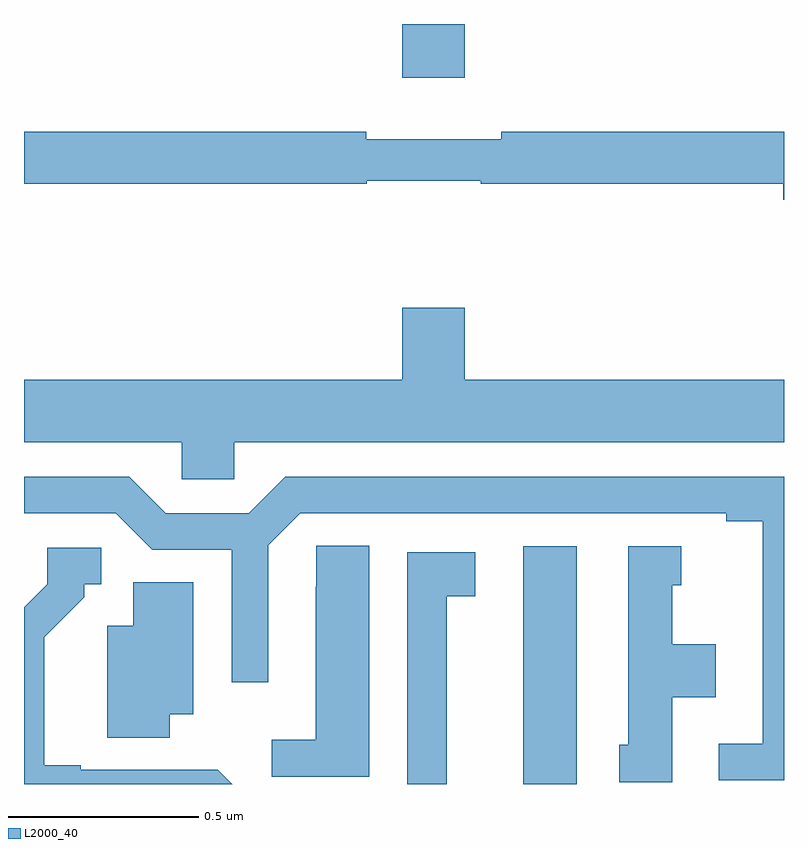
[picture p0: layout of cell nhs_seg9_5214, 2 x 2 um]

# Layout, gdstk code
import gdstk
lib = gdstk.Library(unit=1e-6, precision=1e-09)
def R(c, l, rs):  # rectangles x0, y0, x1, y1
    for r in rs: c.add(gdstk.rectangle(r[:2], r[2:], *l))
def P(c, l, *ps):  # polygons
    for p in ps: c.add(gdstk.Polygon(p, *l))
L2000_40 = (2000, 40)

nhs_seg9_5214 = lib.new_cell('nhs_seg9_5214')
R(nhs_seg9_5214, L2000_40, [(177.314,1215.5,177.454,1216.126), (176.996,1217.358,177.16,1217.5)])
P(nhs_seg9_5214, L2000_40, [(178,1217.216),(177.256,1217.216),(177.256,1217.197),(176.9,1217.197),(176.9,1217.216),(176,1217.216),(176,1217.08),(176.902,1217.08),(176.902,1217.088),(177.202,1217.088),(177.202,1217.08),(177.998,1217.08),(177.998,1217.038),(178,1217.038)],
  [(176.553,1216.4),(178,1216.4),(178,1216.564),(177.16,1216.564),(177.16,1216.753),(176.996,1216.753),(176.996,1216.564),(176,1216.564),(176,1216.4),(176.415,1216.4),(176.415,1216.302),(176.553,1216.302)],
  [(178,1216.308),(176.687,1216.308),(176.591,1216.212),(176.373,1216.212),(176.277,1216.308),(176,1216.308),(176,1216.212),(176.241,1216.212),(176.337,1216.116),(176.547,1216.116),(176.547,1215.768),(176.643,1215.768),(176.643,1216.128),(176.727,1216.212),(177.848,1216.212),(177.848,1216.192),(177.944,1216.192),(177.944,1215.606),(177.828,1215.606),(177.828,1215.51),(178,1215.51)],
  [(176.908,1216.127),(176.769,1216.127),(176.769,1216.019),(176.768,1216.019),(176.768,1215.616),(176.652,1215.616),(176.652,1215.519),(176.908,1215.519)],
  [(177.706,1215.728),(177.82,1215.728),(177.82,1215.868),(177.706,1215.868),(177.706,1216.023),(177.73,1216.023),(177.73,1216.126),(177.59,1216.126),(177.59,1215.603),(177.566,1215.603),(177.566,1215.505),(177.706,1215.505)],
  [(176.51,1215.538),(176.414,1215.538),(176.414,1215.537),(176.149,1215.537),(176.149,1215.55),(176.053,1215.55),(176.053,1215.886),(176.158,1215.991),(176.158,1216.026),(176.203,1216.026),(176.203,1216.122),(176.061,1216.122),(176.061,1216.026),(176,1215.965),(176,1215.5),(176.548,1215.5)],
  [(177.112,1215.994),(177.187,1215.994),(177.187,1216.11),(177.008,1216.11),(177.008,1215.5),(177.112,1215.5)],
  [(176.383,1215.683),(176.446,1215.683),(176.446,1216.031),(176.288,1216.031),(176.288,1215.916),(176.219,1215.916),(176.219,1215.622),(176.383,1215.622)])

lib.write_gds('nhs_seg9_5214.gds')
